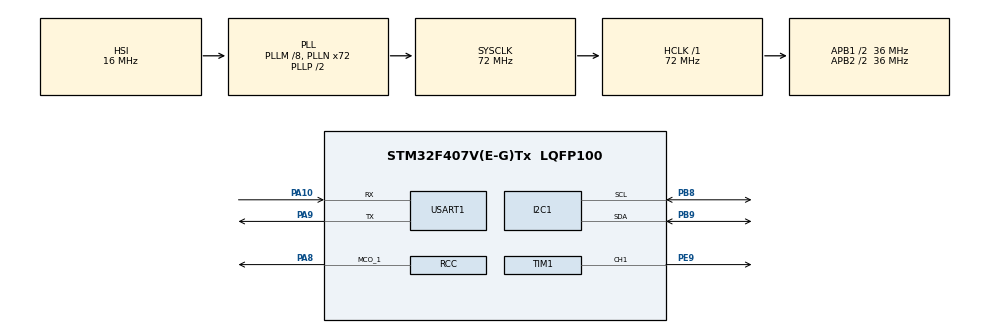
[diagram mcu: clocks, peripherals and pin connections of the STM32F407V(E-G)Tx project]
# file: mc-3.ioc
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FREERTOS.Tasks01=defaultTask,24,256,StartDefaultTask,Default,NULL,Dynamic,NULL,NULL;InputTask,8,256,StartInputTask,Default,NULL,Dynamic,NULL,NULL;GameTask,40,512,StartGameTask,Default,NULL,Dynamic,NULL,NULL;RenderTask,24,512,StartRenderTask,Default,NULL,Dynamic,NULL,NULL
FREERTOS.configUSE_MALLOC_FAILED_HOOK=1
I2C1.I2C_Mode=I2C_Fast
Mcu.Family=STM32F4
Mcu.Name=STM32F407V(E-G)Tx
Mcu.Package=LQFP100
NVIC.I2C1_ER_IRQn=true\:5\:0\:false\:false\:true\:true\:true\:true\:true
NVIC.I2C1_EV_IRQn=true\:5\:0\:false\:false\:true\:true\:true\:true\:true
NVIC.PriorityGroup=NVIC_PRIORITYGROUP_4
PA10.Mode=Asynchronous
PA10.Signal=USART1_RX
PA13.Mode=JTAG_5_pins
PA13.Signal=SYS_JTMS-SWDIO
PA14.Mode=JTAG_5_pins
PA14.Signal=SYS_JTCK-SWCLK
PA15.Mode=JTAG_5_pins
PA15.Signal=SYS_JTDI
PA8.Mode=Clock-out-1
PA8.Signal=RCC_MCO_1
PA9.Mode=Asynchronous
PA9.Signal=USART1_TX
PB3.Mode=JTAG_5_pins
PB3.Signal=SYS_JTDO-SWO
PB4.Mode=JTAG_5_pins
PB4.Signal=SYS_JTRST
PB8.GPIO_Pu=GPIO_PULLUP
PB8.Mode=I2C
PB8.Signal=I2C1_SCL
PB9.GPIO_Pu=GPIO_PULLUP
PB9.Mode=I2C
PB9.Signal=I2C1_SDA
PE9.Signal=S_TIM1_CH1
PH0-OSC_IN.Mode=HSE-External-Oscillator
PH0-OSC_IN.Signal=RCC_OSC_IN
PH1-OSC_OUT.Mode=HSE-External-Oscillator
PH1-OSC_OUT.Signal=RCC_OSC_OUT
ProjectManager.HeapSize=0x200
ProjectManager.StackSize=0x400
ProjectManager.TargetToolchain=STM32CubeIDE
RCC.48MHZClocksFreq_Value=36000000
RCC.AHBFreq_Value=72000000
RCC.APB1CLKDivider=RCC_HCLK_DIV2
RCC.APB1Freq_Value=36000000
RCC.APB1TimFreq_Value=72000000
RCC.APB2CLKDivider=RCC_HCLK_DIV2
RCC.APB2Freq_Value=36000000
RCC.APB2TimFreq_Value=72000000
RCC.CortexFreq_Value=72000000
RCC.HCLKFreq_Value=72000000
RCC.HSE_VALUE=25000000
RCC.HSI_VALUE=16000000
RCC.LSE_VALUE=32768
RCC.PLLM=8
RCC.PLLN=72
RCC.SYSCLKFreq_VALUE=72000000
RCC.SYSCLKSource=RCC_SYSCLKSOURCE_PLLCLK
RCC.VCOOutputFreq_Value=144000000
SH.S_TIM1_CH1.0=TIM1_CH1,PWM Generation1 CH1
TIM1.Channel-PWM\ Generation1\ CH1=TIM_CHANNEL_1
TIM1.OCFastMode_PWM-PWM\ Generation1\ CH1=TIM_OCFAST_DISABLE
TIM1.Period=999
TIM1.Prescaler=70
TIM1.Pulse-PWM\ Generation1\ CH1=500
USART1.VirtualMode=VM_ASYNC
VP_FREERTOS_VS_CMSIS_V2.Mode=CMSIS_V2
VP_TIM1_VS_ClockSourceINT.Mode=Internal
board=custom

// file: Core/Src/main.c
/* USER CODE BEGIN Header */
/**
  ******************************************************************************
  * @file           : main.c
  * @brief          : Main program body
  ******************************************************************************
  * @attention
  *
  * Copyright (c) 2026 STMicroelectronics.
  * All rights reserved.
  *
  * This software is licensed under terms that can be found in the LICENSE file
  * in the root directory of this software component.
  * If no LICENSE file comes with this software, it is provided AS-IS.
  *
  ******************************************************************************
  */
/* USER CODE END Header */
#include "main.h"
#include "cmsis_os.h"
#include "i2c.h"
#include "tim.h"
#include "usart.h"
#include "gpio.h"

/* USER CODE BEGIN Includes */
#include "kb.h"
#include "pca9538.h"
#include "oled.h"
#include "music.h"
#include <stdio.h>
#include <inttypes.h>
/* USER CODE END Includes */

void SystemClock_Config(void);
void MX_FREERTOS_Init(void);

int main(void)
{

  /* MCU Configuration--------------------------------------------------------*/

  /* Reset of all peripherals, Initializes the Flash interface and the Systick. */
  HAL_Init();

  /* Configure the system clock */
  SystemClock_Config();

  /* Initialize all configured peripherals */
  MX_GPIO_Init();
  MX_I2C1_Init();
  MX_USART1_UART_Init();
  MX_TIM1_Init();
  /* USER CODE BEGIN 2 */
  init_music();
  oled_Init();

  oled_Fill(1);
  oled_SetCursor(8, 5);
  oled_WriteString("Snake", Font_11x18, 0);
  oled_SetCursor(8, 5 + 8 + 12);
  oled_WriteString("By Armemius", Font_7x10, 0);
  oled_SetCursor(8, 5 + 8 + 12 * 2);
  oled_WriteString("2/4/6/8 - move", Font_7x10, 0);
  oled_SetCursor(8, 5 + 8 + 12 * 3);
  oled_WriteString("# - to restart", Font_7x10, 0);
  oled_SetCursor(8, 45);
  oled_UpdateScreen();
  play_amogus();
  oled_Fill(0);
  oled_UpdateScreen();
  /* USER CODE END 2 */

  /* Init scheduler */
  osKernelInitialize();  /* Call init function for freertos objects (in cmsis_os2.c) */
  MX_FREERTOS_Init();

  /* Start scheduler */
  osKernelStart();

  /* We should never get here as control is now taken by the scheduler */

  /* Infinite loop */
	while (1)
	{

	}
}

void SystemClock_Config(void)
{
  RCC_OscInitTypeDef RCC_OscInitStruct = {0};
  RCC_ClkInitTypeDef RCC_ClkInitStruct = {0};

  /** Configure the main internal regulator output voltage
  */
  __HAL_RCC_PWR_CLK_ENABLE();
  __HAL_PWR_VOLTAGESCALING_CONFIG(PWR_REGULATOR_VOLTAGE_SCALE1);

  /** Initializes the RCC Oscillators according to the specified parameters
  * in the RCC_OscInitTypeDef structure.
  */
  RCC_OscInitStruct.OscillatorType = RCC_OSCILLATORTYPE_HSI;
  RCC_OscInitStruct.HSIState = RCC_HSI_ON;
  RCC_OscInitStruct.HSICalibrationValue = RCC_HSICALIBRATION_DEFAULT;
  RCC_OscInitStruct.PLL.PLLState = RCC_PLL_ON;
  RCC_OscInitStruct.PLL.PLLSource = RCC_PLLSOURCE_HSI;
  RCC_OscInitStruct.PLL.PLLM = 8;
  RCC_OscInitStruct.PLL.PLLN = 72;
  RCC_OscInitStruct.PLL.PLLP = RCC_PLLP_DIV2;
  RCC_OscInitStruct.PLL.PLLQ = 4;
  if (HAL_RCC_OscConfig(&RCC_OscInitStruct) != HAL_OK)
  {
    Error_Handler();
  }

  /** Initializes the CPU, AHB and APB buses clocks
  */
  RCC_ClkInitStruct.ClockType = RCC_CLOCKTYPE_HCLK|RCC_CLOCKTYPE_SYSCLK
                              |RCC_CLOCKTYPE_PCLK1|RCC_CLOCKTYPE_PCLK2;
  RCC_ClkInitStruct.SYSCLKSource = RCC_SYSCLKSOURCE_PLLCLK;
  RCC_ClkInitStruct.AHBCLKDivider = RCC_SYSCLK_DIV1;
  RCC_ClkInitStruct.APB1CLKDivider = RCC_HCLK_DIV2;
  RCC_ClkInitStruct.APB2CLKDivider = RCC_HCLK_DIV2;

  if (HAL_RCC_ClockConfig(&RCC_ClkInitStruct, FLASH_LATENCY_2) != HAL_OK)
  {
    Error_Handler();
  }
  HAL_RCC_MCOConfig(RCC_MCO1, RCC_MCO1SOURCE_HSI, RCC_MCODIV_1);
}

void Error_Handler(void)
{
  __disable_irq();
  while (1)
  {
  }
}

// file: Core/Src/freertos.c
/* USER CODE BEGIN Header */
/**
  ******************************************************************************
  * File Name          : freertos.c
  * Description        : FreeRTOS application code (Snake game)
  ******************************************************************************
  */
/* USER CODE END Header */

#include "FreeRTOS.h"
#include "task.h"
#include "main.h"
#include "cmsis_os.h"

/* USER CODE BEGIN Includes */

#include "kb.h"
#include "oled.h"
#include "fonts.h"
#include "music.h"
#include <stdbool.h>
#include <string.h>
#include <stdio.h>
/* USER CODE END Includes */

/* USER CODE BEGIN PTD */

#define CELL_SIZE      4U
#define BOARD_WIDTH    (OLED_WIDTH / CELL_SIZE)
#define BOARD_HEIGHT   (OLED_HEIGHT / CELL_SIZE)
#define MAX_SNAKE_LEN  (BOARD_WIDTH * BOARD_HEIGHT)

#define INPUT_QUEUE_LENGTH 8U
#define CMD_RESTART        0xFF

#define DIFF_EASY   0
#define DIFF_MEDIUM 1
#define DIFF_HARD   2
#define DIFF_EXTREME 3
#define DIFF_COUNT  4

#define CMD_MENU_UP    0xF0
#define CMD_MENU_DOWN  0xF1

typedef enum {
  DIR_UP = 0,
  DIR_RIGHT,
  DIR_DOWN,
  DIR_LEFT
} Direction;

typedef struct {
  uint8_t x;
  uint8_t y;
} Cell;

typedef struct {
  Cell body[MAX_SNAKE_LEN];
  uint16_t length;
  Direction direction;
  Direction next_direction;
  Cell food;
  bool alive;
  uint32_t score;
} GameState;
/* USER CODE END PTD */

/* USER CODE BEGIN Variables */

static GameState g_state;
static uint32_t rng_state = 1U;
static volatile uint8_t g_dirty = 0U;
static volatile uint8_t g_menu_active = 1U;
static uint8_t g_selected_diff = DIFF_EASY;
static const uint16_t g_diff_step_ms[DIFF_COUNT] = { 150U, 125U, 100U, 75U };

osMessageQueueId_t inputQueueHandle;
const osMessageQueueAttr_t inputQueue_attributes = {
  .name = "inputQueue"
};

osMutexId_t gameStateMutexHandle;
const osMutexAttr_t gameStateMutex_attributes = {
  .name = "gameStateMutex"
};
/* USER CODE END Variables */
/* Definitions for defaultTask */
osThreadId_t defaultTaskHandle;
const osThreadAttr_t defaultTask_attributes = {
  .name = "defaultTask",
  .stack_size = 256 * 4,
  .priority = (osPriority_t) osPriorityNormal,
};
/* Definitions for InputTask */
osThreadId_t InputTaskHandle;
const osThreadAttr_t InputTask_attributes = {
  .name = "InputTask",
  .stack_size = 256 * 4,
  .priority = (osPriority_t) osPriorityLow,
};
/* Definitions for GameTask */
osThreadId_t GameTaskHandle;
const osThreadAttr_t GameTask_attributes = {
  .name = "GameTask",
  .stack_size = 512 * 4,
  .priority = (osPriority_t) osPriorityHigh,
};
/* Definitions for RenderTask */
osThreadId_t RenderTaskHandle;
const osThreadAttr_t RenderTask_attributes = {
  .name = "RenderTask",
  .stack_size = 512 * 4,
  .priority = (osPriority_t) osPriorityNormal,
};

/* USER CODE BEGIN FunctionPrototypes */

static uint8_t is_opposite(Direction a, Direction b);
static void reset_game(GameState *state);
static void handle_input(GameState *state, uint8_t cmd);
static void game_step(GameState *state, uint8_t *ate_food, uint8_t *died);
static void render_game_full(const GameState *state);
static void render_menu(uint8_t selected_diff);
static uint32_t random32(void);
static uint8_t key_to_command(char key, uint8_t *cmd_out);
static void draw_cell(uint8_t x, uint8_t y, OLED_COLOR color, uint8_t is_food);
/* USER CODE END FunctionPrototypes */

void StartDefaultTask(void *argument);
void StartInputTask(void *argument);
void StartGameTask(void *argument);
void StartRenderTask(void *argument);

void MX_FREERTOS_Init(void); /* (MISRA C 2004 rule 8.1) */

/* Hook prototypes */
void vApplicationMallocFailedHook(void);

/* USER CODE BEGIN 5 */
void vApplicationMallocFailedHook(void)
{
  /* Called if pvPortMalloc() fails. */
}
/* USER CODE END 5 */

void MX_FREERTOS_Init(void) {
  /* USER CODE BEGIN Init */

  reset_game(&g_state);
  /* USER CODE END Init */

  /* USER CODE BEGIN RTOS_QUEUES */
  /* add queues, ... */
  inputQueueHandle = osMessageQueueNew(INPUT_QUEUE_LENGTH, sizeof(uint8_t), &inputQueue_attributes);
  /* USER CODE END RTOS_QUEUES */

  /* Create the thread(s) */
  /* creation of defaultTask */
  defaultTaskHandle = osThreadNew(StartDefaultTask, NULL, &defaultTask_attributes);

  /* creation of InputTask */
  InputTaskHandle = osThreadNew(StartInputTask, NULL, &InputTask_attributes);

  /* creation of GameTask */
  GameTaskHandle = osThreadNew(StartGameTask, NULL, &GameTask_attributes);

  /* creation of RenderTask */
  RenderTaskHandle = osThreadNew(StartRenderTask, NULL, &RenderTask_attributes);

  /* USER CODE BEGIN RTOS_THREADS */
  /* add threads, ... */
  gameStateMutexHandle = osMutexNew(&gameStateMutex_attributes);
  /* USER CODE END RTOS_THREADS */

}

void StartDefaultTask(void *argument)
{
  for(;;)
  {
    osDelay(1);
  }
}

void StartInputTask(void *argument)
{
  /* USER CODE BEGIN StartInputTask */
  kb_init();
  char prev_key = 0;

  /* Infinite loop */
  for(;;)
  {
    char key = kb_get_symb();
    if (key == 0) {
      prev_key = 0;
      osDelay(30);
      continue;
    }

    if (key != prev_key) {
      uint8_t cmd;
      if (key_to_command(key, &cmd) == 1) {
        (void)osMessageQueuePut(inputQueueHandle, &cmd, 0, 0);
      }
      prev_key = key;
    }
    osDelay(30);
  }
  /* USER CODE END StartInputTask */
}

void StartGameTask(void *argument)
{
  /* USER CODE BEGIN StartGameTask */
  TickType_t last_wake_time = xTaskGetTickCount();
  TickType_t step_delay = pdMS_TO_TICKS(g_diff_step_ms[g_selected_diff]);
  uint8_t ate_food = 0;
  uint8_t died = 0;

  osMutexAcquire(gameStateMutexHandle, osWaitForever);
  reset_game(&g_state);
  osMutexRelease(gameStateMutexHandle);

  /* Infinite loop */
  for(;;)
  {
    ate_food = 0;
    died = 0;

    osMutexAcquire(gameStateMutexHandle, osWaitForever);
    uint8_t cmd;
    while (osMessageQueueGet(inputQueueHandle, &cmd, NULL, 0) == osOK) {
      if (g_menu_active) {
        if (cmd == CMD_MENU_UP && g_selected_diff > 0) {
          g_selected_diff--;
          g_dirty = 1U;
        } else if (cmd == CMD_MENU_DOWN && g_selected_diff + 1 < DIFF_COUNT) {
          g_selected_diff++;
          g_dirty = 1U;
        } else if (cmd == CMD_RESTART) {
          g_menu_active = 0U;
          step_delay = pdMS_TO_TICKS(g_diff_step_ms[g_selected_diff]);
          last_wake_time = xTaskGetTickCount();
          reset_game(&g_state);
          g_dirty = 1U;
        }
      } else {
        handle_input(&g_state, cmd);
      }
    }

    if (!g_menu_active) {
      game_step(&g_state, &ate_food, &died);
      g_dirty = 1U;
    }
    osMutexRelease(gameStateMutexHandle);

    if (ate_food) {
      play_note(1200);
      osDelay(30);
      stop_note();
    }
    if (died) {
      play_note(200);
      osDelay(200);
      stop_note();
    }

    if (!g_menu_active) {
      vTaskDelayUntil(&last_wake_time, step_delay);
    } else {
      osDelay(20);
    }
  }
  /* USER CODE END StartGameTask */
}

void StartRenderTask(void *argument)
{
  /* USER CODE BEGIN StartRenderTask */
  GameState snapshot;
  memset(&snapshot, 0, sizeof(snapshot));

  /* Infinite loop */
  for(;;)
  {
    osMutexAcquire(gameStateMutexHandle, osWaitForever);
    if (g_dirty == 0U) {
      osMutexRelease(gameStateMutexHandle);
      osDelay(10);
      continue;
    }
    g_dirty = 0U;
    memcpy(&snapshot, &g_state, sizeof(snapshot));
    uint8_t menu = g_menu_active;
    uint8_t diff = g_selected_diff;
    osMutexRelease(gameStateMutexHandle);

    if (menu) {
      render_menu(diff);
    } else {
      render_game_full(&snapshot);
    }
  }
  /* USER CODE END StartRenderTask */
}

/* USER CODE BEGIN Application */

static uint8_t key_to_command(char key, uint8_t *cmd_out)
{
  switch (key) {
  case '#':
    *cmd_out = CMD_RESTART;
    return 1;
  case '2':
    if (g_menu_active) {
      *cmd_out = CMD_MENU_UP;
    } else {
      *cmd_out = DIR_UP;
    }
    return 1;
  case '4':
    *cmd_out = DIR_LEFT;
    return 1;
  case '6':
    *cmd_out = DIR_RIGHT;
    return 1;
  case '8':
    if (g_menu_active) {
      *cmd_out = CMD_MENU_DOWN;
    } else {
      *cmd_out = DIR_DOWN;
    }
    return 1;
  default:
    return 0;
  }
}

static uint8_t is_opposite(Direction a, Direction b)
{
  return ((a == DIR_UP && b == DIR_DOWN) ||
          (a == DIR_DOWN && b == DIR_UP) ||
          (a == DIR_LEFT && b == DIR_RIGHT) ||
          (a == DIR_RIGHT && b == DIR_LEFT));
}

static uint32_t random32(void)
{
  rng_state = rng_state * 1664525U + 1013904223U;
  return rng_state;
}

static bool cell_occupied(const GameState *state, uint8_t x, uint8_t y)
{
  for (uint16_t i = 0; i < state->length; ++i) {
    if (state->body[i].x == x && state->body[i].y == y) {
      return true;
    }
  }
  return false;
}

static void place_food(GameState *state)
{
  if (state->length >= MAX_SNAKE_LEN) {
    state->alive = false;
    return;
  }
  for (uint16_t attempt = 0; attempt < MAX_SNAKE_LEN; ++attempt) {
    uint8_t x = random32() % BOARD_WIDTH;
    uint8_t y = random32() % BOARD_HEIGHT;
    if (!cell_occupied(state, x, y)) {
      state->food.x = x;
      state->food.y = y;
      return;
    }
  }
  for (uint8_t y = 0; y < BOARD_HEIGHT; ++y) {
    for (uint8_t x = 0; x < BOARD_WIDTH; ++x) {
      if (!cell_occupied(state, x, y)) {
        state->food.x = x;
        state->food.y = y;
        return;
      }
    }
  }
}

static void reset_game(GameState *state)
{
  state->length = 3;
  state->direction = DIR_RIGHT;
  state->next_direction = DIR_RIGHT;
  state->alive = true;
  state->score = 0;
  uint8_t start_x = BOARD_WIDTH / 2;
  uint8_t start_y = BOARD_HEIGHT / 2;
  for (uint16_t i = 0; i < state->length; ++i) {
    state->body[i].x = start_x - i;
    state->body[i].y = start_y;
  }
  rng_state ^= (uint32_t)osKernelGetTickCount();
  rng_state ^= HAL_GetTick();
  place_food(state);
  g_dirty = 1U;
}

static void handle_input(GameState *state, uint8_t cmd)
{
  if (cmd == CMD_RESTART) {
    reset_game(state);
    return;
  }
  if (cmd > DIR_LEFT) {
    return;
  }
  Direction requested = (Direction)cmd;
  if (!is_opposite(state->direction, requested)) {
    state->next_direction = requested;
  }
}

static void game_step(GameState *state, uint8_t *ate_food, uint8_t *died)
{
  *ate_food = 0;
  *died = 0;
  if (!state->alive) {
    return;
  }

  Direction dir = state->next_direction;
  state->direction = dir;

  Cell next = state->body[0];
  switch (dir) {
  case DIR_UP:
    if (next.y == 0) { state->alive = false; *died = 1; return; }
    next.y -= 1;
    break;
  case DIR_DOWN:
    next.y += 1;
    if (next.y >= BOARD_HEIGHT) { state->alive = false; *died = 1; return; }
    break;
  case DIR_LEFT:
    if (next.x == 0) { state->alive = false; *died = 1; return; }
    next.x -= 1;
    break;
  case DIR_RIGHT:
    next.x += 1;
    if (next.x >= BOARD_WIDTH) { state->alive = false; *died = 1; return; }
    break;
  }

  for (uint16_t i = 0; i < state->length; ++i) {
    if (state->body[i].x == next.x && state->body[i].y == next.y) {
      state->alive = false;
      *died = 1;
      return;
    }
  }

  uint16_t new_length = state->length + ((next.x == state->food.x && next.y == state->food.y) ? 1U : 0U);
  if (new_length > MAX_SNAKE_LEN) {
    state->alive = false;
    *died = 1;
    return;
  }

  for (int32_t i = (int32_t)new_length - 1; i > 0; --i) {
    if ((uint16_t)(i - 1) < state->length) {
      state->body[i] = state->body[i - 1];
    }
  }
  state->body[0] = next;
  state->length = new_length;

  if (next.x == state->food.x && next.y == state->food.y) {
    state->score += 1;
    *ate_food = 1;
    place_food(state);
  }
}

static void draw_cell(uint8_t x, uint8_t y, OLED_COLOR color, uint8_t is_food)
{
  uint8_t base_x = x * CELL_SIZE;
  uint8_t base_y = y * CELL_SIZE;

  if (is_food) {
	  oled_DrawSquare(base_x, base_x + CELL_SIZE - 1, base_y, base_y + CELL_SIZE - 1, White);
	  oled_DrawSquare(base_x + 3, base_x + CELL_SIZE - 1 - 3, base_y + 3, base_y + CELL_SIZE - 1 - 3, White);
	  return;
  }

  for (uint8_t dy = 0; dy < CELL_SIZE; ++dy) {
    for (uint8_t dx = 0; dx < CELL_SIZE; ++dx) {
      oled_DrawPixel((uint8_t)(base_x + dx), (uint8_t)(base_y + dy), color);
    }
  }
}

static int tick = 0;

static void render_game_full(const GameState *state)
{
  oled_Fill(Black);

  if (!state->alive) {
    char buf[24];
    oled_SetCursor(2, 8);
    oled_WriteString("Game Over", Font_11x18, White);
    snprintf(buf, sizeof(buf), "Score: %lu", (unsigned long)state->score);
    oled_SetCursor(2, 32);
    oled_WriteString(buf, Font_7x10, White);
    oled_SetCursor(2, 50);
    oled_WriteString("Press # to cont.", Font_7x10, White);
    oled_UpdateScreen();
    return;
  }

  oled_DrawHLine(0, OLED_WIDTH - 1, 0, White);
  oled_DrawHLine(0, OLED_WIDTH - 1, OLED_HEIGHT - 1, White);
  oled_DrawVLine(0, OLED_HEIGHT - 1, 0, White);
  oled_DrawVLine(0, OLED_HEIGHT - 1, OLED_WIDTH - 1, White);

  draw_cell(state->food.x, state->food.y, White, 1);
  for (uint16_t i = 0; i < state->length; ++i) {
    draw_cell(state->body[i].x, state->body[i].y, White, 0);
  }
  oled_UpdateScreen();
}

static void render_menu(uint8_t selected_diff)
{
  oled_Fill(Black);
  oled_SetCursor(6, 6);
  oled_WriteString("Select difficulty", Font_7x10, White);

  oled_DrawHLine(0, OLED_WIDTH, 20, 1);

  const char *labels[DIFF_COUNT] = { "Easy", "Medium", "Hard", "Extreme" };
  for (uint8_t i = 0; i < DIFF_COUNT; ++i) {
    oled_SetCursor(10, 23 + i * 10);
    if (i == selected_diff) {
      oled_WriteString("> ", Font_7x10, White);
    } else {
      oled_WriteString("  ", Font_7x10, White);
    }
    oled_WriteString((char *)labels[i], Font_7x10, White);
  }

  oled_SetCursor(6, 58);
  oled_WriteString("2/8:select  #:start", Font_7x10, White);
  oled_UpdateScreen();
}
/* USER CODE END Application */
